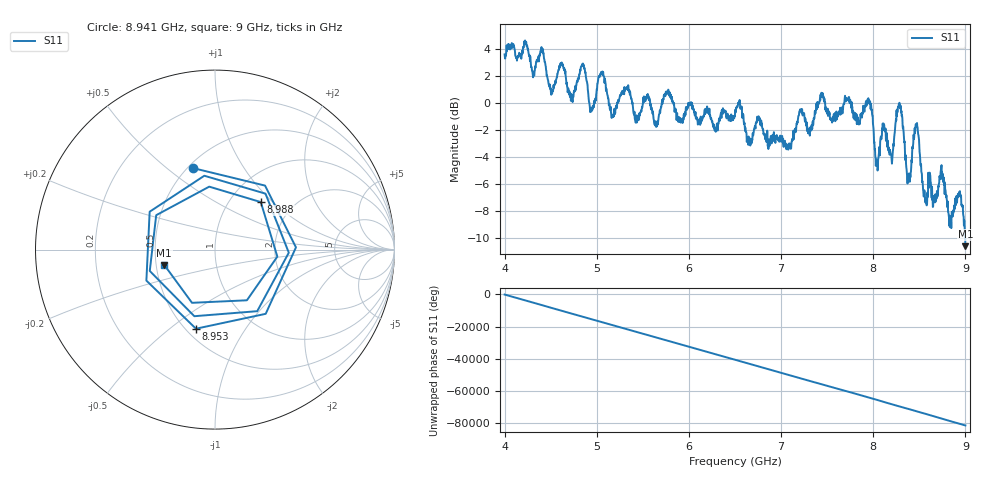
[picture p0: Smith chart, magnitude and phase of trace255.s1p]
! Created with skrf 1.8.0 (http://scikit-rf.org).
# Hz S RI R 50.0
!freq ReS11 ImS11
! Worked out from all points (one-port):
!   1601 points, 4 GHz to 9 GHz, reference 50 ohm
!   lowest |S11| = -10.6 dB at 9 GHz (marker M1), VSWR 1.84, Z = 27.6 - j5.18 ohm
!   |S11| at or under -10 dB: 8.997702 GHz to end of sweep
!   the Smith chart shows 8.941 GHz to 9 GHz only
!   S11 on the Smith chart (normalised r, x): 8.941 GHz: 0.53, +0.62; 8.953 GHz: 0.56, -0.62; 8.988 GHz: 1.38, +0.85; 9 GHz: 0.55, -0.10
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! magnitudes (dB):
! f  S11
! 4 GHz  3.6
! 4.406 GHz  3.9
! 4.509 GHz  0.8
! 4.625 GHz  2.8
! 4.725 GHz  0.6
! 4.853 GHz  2.7
! 4.944 GHz  -0.4
! 5.047 GHz  2.3
! 5.159 GHz  -1.1
! 5.25 GHz  0.5
! 5.875 GHz  -1.1
! 6.5 GHz  -0.8
! 7.125 GHz  -2.8
! 7.438 GHz  0.8
! 7.75 GHz  0.2
! 7.959 GHz  0.0
! 8.047 GHz  -5.0
! 8.109 GHz  -1.8
! 8.197 GHz  -3.9
! 8.291 GHz  -0.3
! 8.375 GHz  -5.3
! 8.469 GHz  -1.6
! 8.566 GHz  -7.4
! 8.741 GHz  -4.6
! 8.941 GHz  -6.5
! 8.953 GHz  -6.9
! 8.988 GHz  -8.7
! 9 GHz  -10.6
